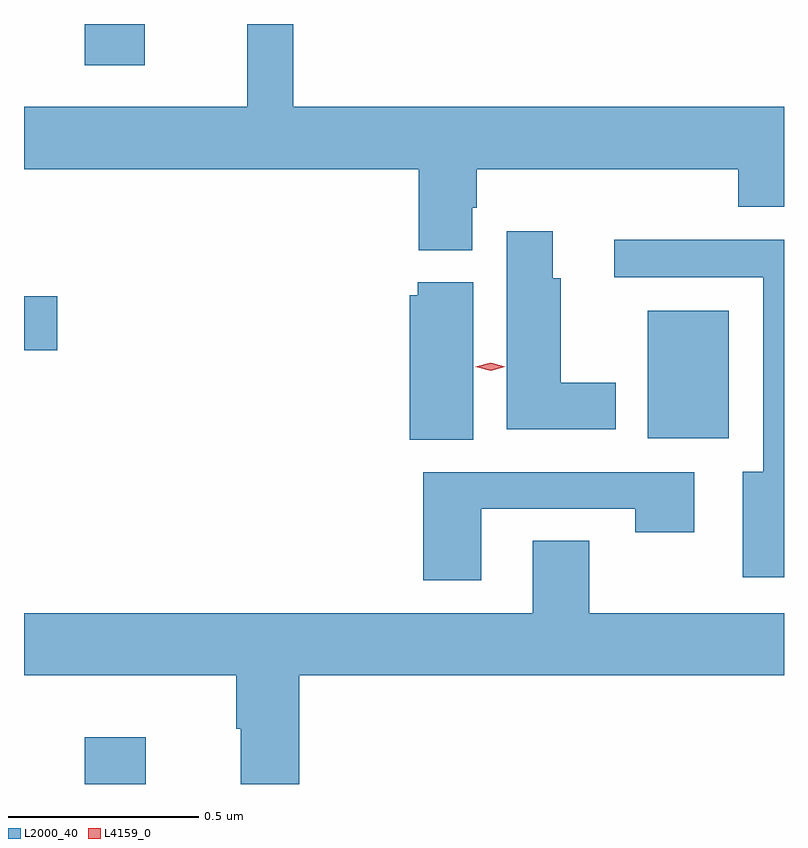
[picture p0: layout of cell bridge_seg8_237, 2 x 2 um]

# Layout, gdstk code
import gdstk
lib = gdstk.Library(unit=1e-6, precision=1e-09)
def R(c, l, rs):  # rectangles x0, y0, x1, y1
    for r in rs: c.add(gdstk.rectangle(r[:2], r[2:], *l))
def P(c, l, *ps):  # polygons
    for p in ps: c.add(gdstk.Polygon(p, *l))
L2000_40 = (2000, 40)
L4159_0 = (4159, 0)

bridge_seg8_237 = lib.new_cell('bridge_seg8_237')
R(bridge_seg8_237, L2000_40, [(289.016,1136.194,289.177,1136.317), (290.498,1137.104,290.71,1137.439), (288.856,1137.335,288.943,1137.477), (289.016,1138.086,289.174,1138.194)])
P(bridge_seg8_237, L2000_40, [(290.035,1137.711),(290.048,1137.711),(290.048,1137.812),(290.735,1137.812),(290.735,1137.713),(290.856,1137.713),(290.856,1137.976),(289.565,1137.976),(289.565,1138.194),(289.444,1138.194),(289.444,1137.976),(288.856,1137.976),(288.856,1137.812),(289.895,1137.812),(289.895,1137.599),(290.035,1137.599)],
  [(290.413,1137.25),(290.269,1137.25),(290.269,1137.525),(290.248,1137.525),(290.248,1137.649),(290.126,1137.649),(290.126,1137.128),(290.413,1137.128)],
  [(290.856,1137.626),(290.409,1137.626),(290.409,1137.528),(290.801,1137.528),(290.801,1137.016),(290.747,1137.016),(290.747,1136.738),(290.856,1136.738)],
  [(290.038,1137.514),(289.892,1137.514),(289.892,1137.48),(289.871,1137.48),(289.871,1137.1),(290.038,1137.1)],
  [(290.059,1136.919),(290.464,1136.919),(290.464,1136.856),(290.62,1136.856),(290.62,1137.015),(289.907,1137.015),(289.907,1136.73),(290.059,1136.73)],
  [(289.58,1136.48),(290.856,1136.48),(290.856,1136.644),(290.343,1136.644),(290.343,1136.834),(290.195,1136.834),(290.195,1136.644),(288.856,1136.644),(288.856,1136.48),(289.415,1136.48),(289.415,1136.339),(289.427,1136.339),(289.427,1136.194),(289.58,1136.194)])
P(bridge_seg8_237, L4159_0, [(290.084,1137.282),(290.044,1137.292),(290.044,1137.292),(290.044,1137.292),(290.084,1137.302),(290.123,1137.292),(290.123,1137.292),(290.123,1137.292)])

lib.write_gds('bridge_seg8_237.gds')
